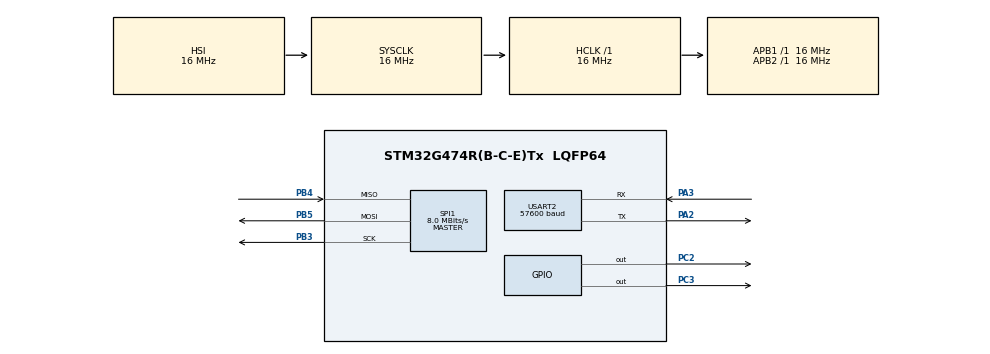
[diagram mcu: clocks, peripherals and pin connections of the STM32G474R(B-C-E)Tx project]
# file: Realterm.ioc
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Dma.Request0=USART2_RX
Dma.USART2_RX.0.Direction=DMA_PERIPH_TO_MEMORY
Dma.USART2_RX.0.EventEnable=DISABLE
Dma.USART2_RX.0.Instance=DMA1_Channel1
Dma.USART2_RX.0.MemDataAlignment=DMA_MDATAALIGN_BYTE
Dma.USART2_RX.0.MemInc=DMA_MINC_ENABLE
Dma.USART2_RX.0.Mode=DMA_CIRCULAR
Dma.USART2_RX.0.PeriphDataAlignment=DMA_PDATAALIGN_BYTE
Dma.USART2_RX.0.PeriphInc=DMA_PINC_DISABLE
Dma.USART2_RX.0.Polarity=HAL_DMAMUX_REQ_GEN_RISING
Dma.USART2_RX.0.Priority=DMA_PRIORITY_LOW
Dma.USART2_RX.0.RequestNumber=1
Dma.USART2_RX.0.SignalID=NONE
Dma.USART2_RX.0.SyncEnable=DISABLE
Dma.USART2_RX.0.SyncPolarity=HAL_DMAMUX_SYNC_NO_EVENT
Dma.USART2_RX.0.SyncRequestNumber=1
Dma.USART2_RX.0.SyncSignalID=NONE
Mcu.Family=STM32G4
Mcu.Name=STM32G474R(B-C-E)Tx
Mcu.Package=LQFP64
NVIC.DMA1_Channel1_IRQn=true\:0\:0\:false\:false\:true\:false\:true\:true
NVIC.PriorityGroup=NVIC_PRIORITYGROUP_4
NVIC.SPI1_IRQn=true\:0\:0\:false\:false\:true\:true\:true\:true
NVIC.USART2_IRQn=true\:0\:0\:false\:false\:true\:true\:true\:true
PA2.Mode=Asynchronous
PA2.Signal=USART2_TX
PA3.Mode=Asynchronous
PA3.Signal=USART2_RX
PB3.Mode=Full_Duplex_Master
PB3.Signal=SPI1_SCK
PB4.Mode=Full_Duplex_Master
PB4.Signal=SPI1_MISO
PB5.Mode=Full_Duplex_Master
PB5.Signal=SPI1_MOSI
PC2.Signal=GPIO_Output
PC3.Signal=GPIO_Output
ProjectManager.HeapSize=0x200
ProjectManager.StackSize=0x400
ProjectManager.TargetToolchain=STM32CubeIDE
RCC.AHBFreq_Value=16000000
RCC.APB1Freq_Value=16000000
RCC.APB1TimFreq_Value=16000000
RCC.APB2Freq_Value=16000000
RCC.APB2TimFreq_Value=16000000
RCC.CortexFreq_Value=16000000
RCC.EXTERNAL_CLOCK_VALUE=12288000
RCC.HCLKFreq_Value=16000000
RCC.HSE_VALUE=8000000
RCC.HSI48_VALUE=48000000
RCC.HSI_VALUE=16000000
RCC.LSE_VALUE=32768
RCC.SYSCLKFreq_VALUE=16000000
RCC.USBFreq_Value=64000000
RCC.VCOOutputFreq_Value=128000000
SPI1.CalculateBaudRate=8.0 MBits/s
SPI1.Direction=SPI_DIRECTION_2LINES
SPI1.Mode=SPI_MODE_MASTER
SPI1.VirtualType=VM_MASTER
TIM1.PeriodNoDither=50-1
TIM1.Prescaler=16-1
USART2.BaudRate=57600
USART2.VirtualMode-Asynchronous=VM_ASYNC
VP_TIM1_VS_ClockSourceINT.Mode=Internal
board=custom

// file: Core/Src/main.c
/* USER CODE BEGIN Header */
/**
  ******************************************************************************
  * @file           : main.c
  * @brief          : Main program body
  ******************************************************************************
  * @attention
  *
  * Copyright (c) 2023 STMicroelectronics.
  * All rights reserved.
  *
  * This software is licensed under terms that can be found in the LICENSE file
  * in the root directory of this software component.
  * If no LICENSE file comes with this software, it is provided AS-IS.
  *
  ******************************************************************************
  */
/* USER CODE END Header */
#include "main.h"
#include "rfid.h"
#include <stdio.h>

SPI_HandleTypeDef hspi1;

TIM_HandleTypeDef htim1;

UART_HandleTypeDef huart2;
DMA_HandleTypeDef hdma_usart2_rx;

void SystemClock_Config(void);
static void MX_GPIO_Init(void);
static void MX_DMA_Init(void);
static void MX_USART2_UART_Init(void);
static void MX_SPI1_Init(void);
static void MX_TIM1_Init(void);

int main(void)
{

  /* MCU Configuration--------------------------------------------------------*/

  /* Reset of all peripherals, Initializes the Flash interface and the Systick. */

	HAL_Init();

  /* Configure the system clock */
  SystemClock_Config();

  /* Initialize all configured peripherals */
  MX_GPIO_Init();
  MX_DMA_Init();
  MX_USART2_UART_Init();
  MX_SPI1_Init();
  MX_TIM1_Init();
  /* USER CODE BEGIN 2 */
  	  HAL_UART_Transmit(&huart2, "Hello\n\r", 10, 10);
//  	rfid_state = RFID_SET_IDLE;

  	void rfid_read_tag (void)
  	  {
  	  	rfid_read_tag_pending = 1;
  	  }

  	//********** READ TAG GET RESULT **********
  	    //Call this function to check for the end of the read tag process
  	    //Returns 0 if still reading, 1 if completed.  Bit 7 will be set if the read failed.
  	    //	After a sucessful read the ASCII tag ID will be in rfid_data_nibbles[0] | rfid_data_nibbles[9]
  	  uint8_t rfid_get_read_tag_result (void)
  	    {
  	    	//----- CHECK FOR STILL READING -----
  	    	if ((rfid_read_tag_pending) || (rfid_state != RFID_IDLE))
  	    		return(0x00);

  	    	//----- READ IS COMPLETE -----
  	    	if (rfid_read_tag_success)
  	    		return(0x01);				//Success
  	    	else
  	    		return(0x81);				//Failed
  	    }

  	uint8_t rfid_tx_rx_byte (uint8_t tx_data, uint8_t get_response)
  	    {
  	    	uint8_t rx_data = 0;
  	    	HAL_SPI_Transmit_IT(&hspi1, &tx_data, 1);
  	    	if (get_response == 1)
  	    	{
  	    		 HAL_SPI_Receive_IT	(&hspi1,&rx_data,1);
  	    	}

  	    	return rx_data;
  	    }

  	  void rfid_start_read_tag (void)
  	    {
  	  	  uint8_t tx_data  = 0x10;
  	  	  HAL_SPI_Transmit_IT(&hspi1, &tx_data, 1);
  	    }

  	//**********************************
  	    void rfid_end_read_tag (void)
  	    {

  	    	//----- TERMIATE READ_TAG MODE -----
  	    	//Low to high transition on SCLK
  	  //  	RFID_SCLK(1);
  	    	HAL_GPIO_WritePin(GPIOB, GPIO_PIN_3,GPIO_PIN_SET);

  	    }

  	  //***************************************
  	         //********** ADD NEXT DATA BIT **********
  	         //***************************************
  	         //***************************************
  	         //Returns:
  	         //	0	More bits to get
  	         //	1	All bits received and value is valid
  	         //	3	All bits received and value is bad
  	         uint8_t rfid_sampling_rising_edge_add_bit (uint8_t bit_state)
  	         {
  	         	static uint8_t nibble_index;
  	         	static uint8_t bit_index;
  	         	static uint8_t return_value;
  	         	static uint8_t no_of_ones;
  	         	static uint16_t parity_check_data;

  	         	if (rfid_bit_count == 0)
  	         	{
  	         		//----- FIRST BIT - INITIALISE THE REGISTERS -----
  	         		return_value = 0;
  	         		nibble_index = 0;
  	         		bit_index = 0;
  	         		rfid_data_nibbles[0] = 0;
  	         		rfid_data_nibbles[1] = 0;
  	         		rfid_data_nibbles[2] = 0;
  	         		rfid_data_nibbles[3] = 0;
  	         		rfid_data_nibbles[4] = 0;
  	         		rfid_data_nibbles[5] = 0;
  	         		rfid_data_nibbles[6] = 0;
  	         		rfid_data_nibbles[7] = 0;
  	         		rfid_data_nibbles[8] = 0;
  	         		rfid_data_nibbles[9] = 0;
  	         		rfid_data_nibbles[10] = 0;
  	         	}

  	         	if (nibble_index > 10)			//Check just in case
  	         		return(return_value);

  	         	switch (bit_index)
  	         	{
  	         	case 0:
  	         		//----- BIT 3 -----
  	         		if (bit_state)
  	         			rfid_data_nibbles[nibble_index] |= 0x08;
  	         		bit_index++;
  	         		break;

  	         	case 1:
  	         		//----- BIT 2 -----
  	         		if (bit_state)
  	         			rfid_data_nibbles[nibble_index] |= 0x04;
  	         		bit_index++;
  	         		break;

  	         	case 2:
  	         		//----- BIT 1 -----
  	         		if (bit_state)
  	         			rfid_data_nibbles[nibble_index] |= 0x02;
  	         		bit_index++;
  	         		break;

  	         	case 3:
  	         		//----- BIT 0 -----
  	         		if (bit_state)
  	         			rfid_data_nibbles[nibble_index] |= 0x01;
  	         		bit_index++;
  	         		break;

  	         	case 4:
  	         		//----- PARITY -----
  	         		if (nibble_index < 10)
  	         		{
  	         			//----- JUST COMPLETED NEXT 5 BIT NIBBLE -----

  	         			//Check the parity is even (total number of high bits should be even)
  	         			parity_check_data = (uint16_t)rfid_data_nibbles[nibble_index];
  	         			no_of_ones = 0;
  	         			while (parity_check_data)
  	         			{
  	         				no_of_ones++;
  	         				parity_check_data &= (parity_check_data - 1);
  	         			}
  	         			//no_of_ones = the number of high bits
  	         			if (
  	         			((no_of_ones & 0x01) && (bit_state == 0)) ||
  	         			(((no_of_ones & 0x01) == 0) && (bit_state))
  	         			)
  	         			{
  	         				//----- PARITY ERROR -----
  	         				return_value = 3;
  	         			}
  	         		}
  	         		else
  	         		{
  	         			//----- JUST GOT THE FINAL STOP BIT -----
  	         			if (bit_state)
  	         			{
  	         				//----- ERROR - STOP BIT SHOULD BE LOW -----
  	         				return_value = 3;
  	         			}
  	         			else
  	         			{
  	         				//----- CHECK THE COLUMN PARITY -----
  	         				return_value = 1;		//Default to parity good
  	         				for (bit_index = 0x08; bit_index > 0; bit_index >>= 1)
  	         				{
  	         					parity_check_data = 0;
  	         					if (rfid_data_nibbles[0] & bit_index)
  	         						parity_check_data |= 0x0200;
  	         					if (rfid_data_nibbles[1] & bit_index)
  	         						parity_check_data |= 0x0100;
  	         					if (rfid_data_nibbles[2] & bit_index)
  	         						parity_check_data |= 0x0080;
  	         					if (rfid_data_nibbles[3] & bit_index)
  	         						parity_check_data |= 0x0040;
  	         					if (rfid_data_nibbles[4] & bit_index)
  	         						parity_check_data |= 0x0020;
  	         					if (rfid_data_nibbles[5] & bit_index)
  	         						parity_check_data |= 0x0010;
  	         					if (rfid_data_nibbles[6] & bit_index)
  	         						parity_check_data |= 0x0008;
  	         					if (rfid_data_nibbles[7] & bit_index)
  	         						parity_check_data |= 0x0004;
  	         					if (rfid_data_nibbles[8] & bit_index)
  	         						parity_check_data |= 0x0002;
  	         					if (rfid_data_nibbles[9] & bit_index)
  	         						parity_check_data |= 0x0001;

  	         					no_of_ones = 0;
  	         					while (parity_check_data)
  	         					{
  	         						no_of_ones++;
  	         						parity_check_data &= (parity_check_data - 1);
  	         					}
  	         					//no_of_ones = the number of high bits
  	         					if (
  	         					((no_of_ones & 0x01) && ((rfid_data_nibbles[10] & bit_index) == 0)) ||
  	         					(((no_of_ones & 0x01) == 0) && ((rfid_data_nibbles[10] & bit_index)))
  	         					)
  	         					{
  	         						//----- PARITY ERROR -----
  	         						return_value = 3;
  	         					}
  	         				} //for (bit_index = 0x08; bit_index > 0; bit_index >>= 1)
  	         			}
  	         		}

  	         		bit_index = 0;
  	         		nibble_index++;
  	         		break;

  	         	}

  	         	return(return_value);
  	         }

  	       void rfid_process ()
  	          {
  	          	uint8_t tx_data;
  	          	uint8_t response;
  	          	uint16_t t_ant;
  	          	uint8_t count;
//  	          	HAL_UART_Transmit(&huart2, "rfid Process1\r\n", 15, 10);
//  	          	printf("Process");
//  	          	HAL_UART_Transmit(&huart2, rfid_state, 20, 10);
  	          		sprintf(rfid_state_str, "%hu\r\n", rfid_state);
  	          	  	HAL_UART_Transmit(&huart2, (uint8_t*)rfid_state_str, strlen(rfid_state_str), 10);
//  	          	HAL_UART_Transmit(&huart2, "rfid Process2\r\n", 15, 10);

  	          	switch (rfid_state)
  	          	{
  	          	case RFID_INITIALISE:
  	          	  		//----------------------
  	          	  		//----------------------
  	          	  		//----- INITIALISE -----
  	          	  		//----------------------
  	          	  		//----------------------
  	          	  		//Pause for >= 10mS for HTRC110 to be ready (specified in section 11.1 of the Philips "Read/Write Devices based on the HITAG Read/Write IC HTRC110" application note AN97070 rev 1.1)
  	          	  		HAL_Delay(11);
  	          	  		rfid_state = RFID_SET_IDLE;
  	          	  		HAL_UART_Transmit(&huart2, "Initialise\r\n", 15, 10);

  	          	//  		#ifdef RFID_SPI_SAMPLE_CS_PIN
  	          	//  			RFID_SPI_SAMPLE_CS_PIN(1);
  	          	//  		#endif

  	          	  		break;

  	          	case RFID_SET_IDLE:
  	          			//----- GO TO IDLE -----

  	          			HAL_UART_Transmit(&huart2, "Set Idle\r\n", 10, 10);

  	          			rfid_gain = 2;									//Default to a gain value of 2 (g=500 - this is default).  Permitted values are 0, 1, 2 or 3.

  	          			//SET_CONFIG_PAGE page=0x3 data=0x0 (DISLP1=0, DISSMARTCOMP=0, FSEL=00[4MHz osc])
  	          			rfid_tx_rx_byte(0x73, 0);

  	          			//SET_CONFIG_PAGE page=0x0 data=0xB (GAIN=##, FILTERH=1, FILTERL=1)
  	          			tx_data = 0x43 | (rfid_gain << 2);
  	          			rfid_tx_rx_byte(tx_data, 0);

  	          			//SET_CONFIG_PAGE page=0x2 data=0xF (THRESET=1, ACQAMP=1, FREEZE=11)
  	          			rfid_tx_rx_byte(0x6f, 0);

  	          	//		SET_CONFIG_PAGE page=0x1 data=0x5 (PD_MODE=0[active], PD=1[power down], HYSTERESIS=0[off], TXDIS=1[coil driver off])
  	          			rfid_tx_rx_byte(0x55, 0);
  	          			rfid_state = RFID_IDLE;
  	          			break;

  	          	case RFID_IDLE:
  	          			//----- IDLE -----
  	          			//RFID is in inactive low power state
//  	          			HAL_UART_Transmit(&huart2, "Idle\r\n", 10, 10);

  	          			//----- CHECK FOR READ TAG REQUEST -----
  	          			if (rfid_read_tag_pending)
  	          				rfid_state = RFID_READ_TAG;
  	          			break;

  	          		case RFID_READ_TAG:

  	          				//----- READ TAG 1 -----
  	          				HAL_UART_Transmit(&huart2, "Read Tag\r\n", 10, 10);

  	          				//SET_CONFIG_PAGE page=0x3 data=0x0 (DISLP1=0, DISSMARTCOMP=0, FSEL=00[4MHz osc])
  	          				rfid_tx_rx_byte(0x73, 0);

  	          				//SET_CONFIG_PAGE page=0x0 data=0xB (GAIN=##, FILTERH=1, FILTERL=1)
  	          				tx_data = 0x43 | (rfid_gain << 2);
  	          				rfid_tx_rx_byte(tx_data, 0);

  	          				//SET_CONFIG_PAGE page=0x1 data=0x0 (PD_MODE=0[active], PD=0[active], HYSTERESIS=0[off], TXDIS=0[coil driver on])
  	          				rfid_tx_rx_byte(0x50, 0);
  	          				//SET_CONFIG_PAGE page=0x2 data=0xB (THRESET=1, ACQAMP=0, FREEZE=11)

  	          				rfid_tx_rx_byte(0x6b, 0);
  	          				//Pause for >= 5mS for HTRC110 to be ready (specified in section 11.4 of the Philips "Read/Write Devices based on the HITAG Read/Write IC HTRC110" application note AN97070 rev 1.1)
  	          				HAL_Delay(4);
  	          				//SET_CONFIG_PAGE page=0x2 data=0x8 (THRESET=1, ACQAMP=0, FREEZE=00[normal operation])
  	          				rfid_tx_rx_byte(0x68, 0);
  	          				HAL_Delay(1);
  	          				//SET_CONFIG_PAGE page=0x2 data=0x0 (THRESET=0, ACQAMP=0, FREEZE=00)
  	          				rfid_tx_rx_byte(0x60, 0);

  	          				//----- CHECK THE ANTENNA IS OK -----
  	          				//GET_CONFIG_PAGE page=2
  	          				response = rfid_tx_rx_byte(0x06, 1);

  	          				if (response & 0x10)
  	          				{
  	          					//ANTFAIL IS SET - Antenna failure
  	          					HAL_UART_Transmit(&huart2, "Fail 1\r\n", 10, 10);
  	          					rfid_state = RFID_READ_FAIL;
  	          					break;
  	          				}

  	          				//----- SET THE SAMPLING TIME -----
  	          				//READ_PHASE
  	          				t_ant = (uint16_t)rfid_tx_rx_byte(0x08, 1);
  	          				t_ant <<= 1;							//Multiply by 2
  	          				t_ant += RFID_T_OC;						//Add the Offset Compensation value
  	          				t_ant &= 0x3f;

  	          				//SET_SAMPLING_TIME d=t_ant
  	          				rfid_tx_rx_byte((0x80 | (uint8_t)t_ant), 0);

  	          				//GET_SAMPLING_TIME
  	          				response = rfid_tx_rx_byte(0x02, 1);

  	          				HAL_NVIC_EnableIRQ(EXTI4_IRQn);

  	          				HAL_UART_Transmit(&huart2, response, 20, 10);
  	          				if (response != t_ant)
  	          				{
  	          					//Error - the sampling time value was not accepted for some reason
  	          					HAL_UART_Transmit(&huart2, "Fail 2\r\n", 10, 10);
  	          					rfid_state = RFID_READ_FAIL;
  	          					break;
  	          				}

  	          				//HTRC110 is now outputting a 125kHz sine wave.  The tag (if present) will be powered by this and it will then start transmitting its 64 bits as a continuous
  	          				//cycle (it transmits in a loop as long as its powered by the RF field).  It transmits its bits by interfearing with the RF sine wave signal which the HTRC110
  	          				//detects for us.  When we now start reading the tag data we will be given the raw data output of the tag after being filtered into a digital signal by the HTRC110.

  	          				//----- START READING THE TAG DATA -----
  	          				rfid_start_read_tag();

  	          	//			rfid_1ms_timer = 150;					//Set a timeout
  	          				rfid_state = RFID_READ_TAG_READING;

  	          				//----- ENABLE THE MISO RISING EDGE INTERRUPT -----
  	          				rfid_capture_state = RFID_CAPTURE_INITIALISE;
  	          				rfid_tries_count = 0;
  	          	//			RFID_CLEAR_MISO_RISING_EDGE_IRQ();
  	          				HAL_NVIC_EnableIRQ(EXTI4_IRQn);
  	          				//The interrupt called function deals with reading and demodulating the tag data
  	          				break;

  	          		case RFID_READ_TAG_READING:
  	          				//----------------------------------------
  	          				//----------------------------------------
  	          				//----- READING TAG DEMODULATED DATA -----
  	          				//----------------------------------------
  	          				//----------------------------------------
  	          				//The tag data length is 64 bits with between 64 to 127 bits needing to be received before we have a complete sequence.
  	          				//We also need to initially receive 22 bits to enable us to determine the bit rate.
  	          				//Therefore read can take 149 bits x 512uS maximum bit rate = 76mS.
  	          				//Tags will typically be set to use the slowest 512uS bit rate as slow transitions on the air interface are easier to
  	          				//detect, which means you get additional range and more reliable communications.
  	          				//Note that if no tag is present we expect to receive bad data (the data line will not be idle) and we are likely to see
  	          				//valid header strings.  However the 14 seperate parity checks will only pass when a valid tag is present.
  	          				HAL_UART_Transmit(&huart2, "ReadTag Reading\r\n", 20, 10);
  	          				if (rfid_capture_state == RFID_CAPTURE_SUCCESS)
  	          				{
  	          					//-----------------------------
  	          					//----- TAG HAS BEEN READ -----
  	          					//-----------------------------
  	          					rfid_end_read_tag();

  	          					//Convert ID value to ASCII
  	          					for (count = 0; count < 10; count++)
  	          					{
  	          						rfid_data_nibbles[count] += 0x30;
  	          						if (rfid_data_nibbles[count] > 0x39)
  	          							rfid_data_nibbles[count] += 0x07;
  	          					}

  	          					rfid_read_tag_success = 1;
  	          					rfid_read_tag_pending = 0;
  	          					rfid_state = RFID_SET_IDLE;
  	          					break;
  	          				}

  	          				if (rfid_capture_state == RFID_CAPTURE_FAILED_GIVEN_UP)
  	          				{
  	          					//------------------------------
  	          					//----- TAG READING FAILED -----
  	          					//------------------------------
  	          					rfid_end_read_tag();

  	          					rfid_read_tag_success = 0;
  	          					rfid_read_tag_pending = 0;
  	          					rfid_state = RFID_SET_IDLE;
  	          					HAL_NVIC_DisableIRQ(EXTI4_IRQn);		//Ensure irq is disabled
  	          				}

  	          				break;

  	          			case RFID_READ_FAIL:
  	          				//---------------------------
  	          				//---------------------------
  	          				//----- READ TAG FAILED -----
  	          				//---------------------------
  	          				//---------------------------
  	          				HAL_UART_Transmit(&huart2, "Read Fail\r\n", 12, 10);
  	          				rfid_read_tag_success = 0;
  	          				rfid_read_tag_pending = 0;

  	          				rfid_state = RFID_SET_IDLE;
  	          				break;
  	          	}
  	          }
  	     //********** SAMPLING PHASE - DATA RISING EDGE INTERRUPT **********

  	       //Call with:
  	       //	us_since_last_rising_edge	The time in uS since the last edge interrupt.  You application interrupt hander must create this value from an available microcontroller timer.
  	       //								The maximum time between interrupts will be approximately 1024uS, so your timer calculation only needs to deal with time values of up to say
  	       //								1280uS (to give a reasonable margin of worst case tollerance).
  	       //								Call with the timer value captured as close as possible to the rising edge occuring (reduce latency as much as possible)
  	       //								This function will ignore the value for the first 2 calls allowing for initial timer error.

  	     void rfid_sampling_rising_edge (uint16_t us_since_last_rising_edge)
  	       {
  	       	static uint16_t rfid_1us_bit_rate;		//(As this is an interrupt function we define all variables as static to avoid the compiler needing to waste time pushing values onto the stack etc before calling)
  	       	static uint16_t w_temp;
  	       	static uint16_t rfid_1us_125_value;
  	       	static uint16_t rfid_1us_175_value;
  	       	static uint8_t rfid_bit_type;
  	       	static uint8_t manchester_header_bit_count;
  	       	static uint8_t biphase_header_bit_count;
  	       	static uint8_t rfid_modulation_is_manchester;
  	       	static uint8_t rfid_carry;
  	       	static uint8_t last_bit_state;
  	       	static uint8_t b_temp;

  	       	//-------------------------------------
  	       	//----- NEXT RISING EDGE DETECTED -----
  	       	//-------------------------------------

  	       	//Reset the irq if necessary
  	     //  	RFID_CLEAR_MISO_RISING_EDGE_IRQ();

  	       	//----------------------------------
  	       	//----- DETERMINE THE BIT TYPE -----
  	       	//----------------------------------
  	       	if (rfid_capture_state >= RFID_CAPTURE_GET_HEADER)
  	       	{
  	       		if (us_since_last_rising_edge < rfid_1us_125_value)
  	       			rfid_bit_type = 100;					//rfid_1us_bit_rate x 1
  	       		else if (us_since_last_rising_edge < rfid_1us_175_value)
  	       			rfid_bit_type = 150;					//rfid_1us_bit_rate x 1.5
  	       		else
  	       			rfid_bit_type = 200;					//rfid_1us_bit_rate x 2
  	       	}

  	       	switch (rfid_capture_state)
  	       	{
  	       	case RFID_CAPTURE_INITIALISE:
  	       		//---------------------------------
  	       		//---------------------------------
  	       		//----- SETUP FOR NEW CAPTURE -----
  	       		//---------------------------------
  	       		//---------------------------------
  	       		rfid_bit_count = 0;
  	       		rfid_1us_bit_rate = 0xffff;

  	       		rfid_capture_state = RFID_CAPTURE_GET_BIT_RATE;
  	       		break;

  	       	case RFID_CAPTURE_GET_BIT_RATE:
  	       		//------------------------------
  	       		//------------------------------
  	       		//----- GET BIT RATE PHASE -----
  	       		//------------------------------
  	       		//------------------------------
  	       		//We are looking for the minimum high edge to high edge time to determine the tags bit rate

  	       		if (rfid_bit_count > 2)		//Ignore the first few transitions in case of initial timing error and switchover garbage from the HTRC110
  	       		{
  	       			if (us_since_last_rising_edge < rfid_1us_bit_rate)				//If this cycle was the shortest yet then store it
  	       				rfid_1us_bit_rate = us_since_last_rising_edge;
  	       		}

  	       		if (rfid_bit_count >= 21)				//We need at least 14 bits to ensure that we will have seen a short cycle (worst case is BiPhase 111111111 header followed by 1111 data bits then the parity woudl be the first short bit cycle)
  	       		{
  	       			//----------------------------------
  	       			//------- WE HAVE THE BIT RATE -----
  	       			//----------------------------------
  	       			//125kHz = 8uS per cycle.  Our timer value increments every 1uS.
  	       			//For Manchester or BiPhase the tag will be responding with 1 bit every 64, 32 or 16 periods of the carrier frequency, and will change state once
  	       			//or twice during this (the tag is allowed to use any of these three as its data rate).  However we only need to detect each rising edge to determine
  	       			//the bit states, reducing the interrupt burden on the main application.  Also only detecting each rising edge removes issues of dealing with non perfect
  	       			//high and low widths within each cycle - being radio they are often not perfectly 50/50, but the overall bit frequency will be relatively accurate.
  	       			//So for either of these modulations our bit rate will be approximately 128uS, 256uS or 512uS.
  	       			//If the tag is PSK it will be changing state every carrier frequency period (every 8uS)

  	       			if (rfid_1us_bit_rate < 76)				//The fastest possible Manchester or BiPhase cycle bit rate is 128uS but give a good level of tollerance
  	       			{
  	       				//-----------------------------
  	       				//----- MODULATION IS PSK -----
  	       				//-----------------------------
  	       				//PSK cycle rate is 16uS. 1 transition every 125kHz cycle
  	       				//PSK is not used by typical tags as many readers don't support it due to the complexity burden of decoding it.
  	       				rfid_capture_state = RFID_CAPTURE_FAILED;		//PSK is not supported
  	       				break;
  	       			}
  	       			//-----------------------------------------------
  	       			//----- MODULATION IS MANCHESTER OR BIPHASE -----
  	       			//-----------------------------------------------
  	       			//rfid_1us_bit_rate will equal approximately 512, 256 or 128 caused by the shortest high edge to high edge complete cycle being 512uS, 256uS or 128uS long.
  	       			//(the actual fastest signal edge transition period being every 256uS, 128uS or 64uS)

  	       			//Check for bit rate not out of range
  	       			if (rfid_1us_bit_rate > 720)
  	       			{
  	       				rfid_capture_state = RFID_CAPTURE_FAILED;
  	       				break;
  	       			}
  	       			//----- CALCULATE THE CYCLE TIMES -----
  	       			//Now that we have the bit rate (the fastest high edge to high edge time) we can determine the 3 possible time values.
  	       			//A high edge may take:
  	       			//	rfid_1us_bit_rate x 1
  	       			//	rfid_1us_bit_rate x 1.5
  	       			//	rfid_1us_bit_rate x 2
  	       			//In order to determine which has just occured we need a time value for (rfid_1us_bit_rate x 1.25) and (rfid_1us_bit_rate x 1.75)
  	       			w_temp = rfid_1us_bit_rate >> 2;		//Get rfid_1us_bit_rate x 0.25
  	       			rfid_1us_125_value = rfid_1us_bit_rate + w_temp;
  	       			rfid_1us_175_value = rfid_1us_bit_rate + w_temp + w_temp + w_temp;

  	       			rfid_capture_state = RFID_CAPTURE_GET_HEADER;
  	       			rfid_bit_count = 0;
  	       			manchester_header_bit_count = 0;
  	       			biphase_header_bit_count = 0;
  	       			break;
  	       		}

  	       		rfid_bit_count++;
  	       		break;

  	       	case RFID_CAPTURE_GET_HEADER:
  	       		//-------------------------------------------
  	       		//-------------------------------------------
  	       		//----- WAIT FOR THE 9 HIGH BITS HEADER -----
  	       		//-------------------------------------------
  	       		//-------------------------------------------
  	       		//The stop bit followed by header is the following sequence of bits : 0111111111
  	       		//This cannot occur anywhere else in the tags 64 bit stream.
  	       		//For Manchester encoding the header will be a sequence of rfid_bit_type=100 repeating 8 times for the 9 high bits.
  	       		//For BiPhase encoding the header will be a sequence of rfid_bit_type=200 repeating 4 times for the 9 high bits.
  	       		//The header is the only position in the bit stream where either of these sequences can occur.

  	       		if (rfid_bit_type == 100)
  	       			manchester_header_bit_count++;
  	       		else
  	       			manchester_header_bit_count = 0;

  	       		if (rfid_bit_type == 200)
  	       			biphase_header_bit_count++;
  	       		else
  	       			biphase_header_bit_count = 0;

  	       		if (manchester_header_bit_count == 8)
  	       		{
  	       			//----- MANCHESTER ENCODING HEADER DETECTED -----
  	       			rfid_modulation_is_manchester = 1;
  	       			rfid_bit_count = 0;
  	       			rfid_carry = 0;
  	       			last_bit_state = 1;
  	       			rfid_capture_state = RFID_CAPTURE_GET_DATA;
  	       			break;
  	       		}

  	       		if (biphase_header_bit_count == 8)
  	       		{
  	       			//----- BI-PHASE ENCODING HEADER DETECTED -----
  	       			rfid_modulation_is_manchester = 0;
  	       			rfid_bit_count = 0;
  	       			rfid_carry = 0;
  	       			last_bit_state = 1;
  	       			rfid_capture_state = RFID_CAPTURE_GET_DATA;
  	       			break;
  	       		}

  	       		if (rfid_bit_count > 128)
  	       		{
  	       			//----- GIVE UP -----
  	       			//We should have seen the header by now
  	       			rfid_capture_state = RFID_CAPTURE_FAILED;
  	       			break;
  	       		}
  	       		rfid_bit_count++;
  	       		break;

  	       	case RFID_CAPTURE_GET_DATA:
  	       		//----------------------------------------------
  	       		//----------------------------------------------
  	       		//----- GET THE 54 BITS OF DATA AND PARITY -----
  	       		//----------------------------------------------
  	       		//----------------------------------------------

  	       		//----- MODULATION DEFINITIONS FOR EM4102 BASED RFID TRANSPONDERS -----
  	       		//Manchester Modulation:
  	       		//	This is the default encoding method used by most tags.
  	       		//	The tag will produce a level transition in the middle of the bit period.
  	       		//	Low to high = logic 1, high to low = logic 0.
  	       		//	There is always a transition in the middle of the bit period, but only a transition at the beginning of the bit period if requried for the next bit state.
  	       		//
  	       		//BiPhase Modulation:
  	       		//	There is aways transition at the beginning of the bit period
  	       		//	For logic 0 there is also a transition in the centre of the bit period
  	       		//	For logic 1 there is no transition in the centre of the bit period

  	       		//----- HOW THE DRIVER DETECTS THE BIT VALUES -----
  	       		//This driver only detects the rising edge of the data stream.  This has been chosen as it reduces the demands on the microcontroller (half the number
  	       		//of interrupts occur) and because from this each bit state can be determined.  The following is how it's done, and if you wish to understand the
  	       		//operation it's easiest if you have example datastreams to hand.
  	       		//Note that whilst Manchester and BiPhase modulation are standard approaches, their implementation differes depending on use.  EM4102 based tags use the
  	       		//modulation in a specific way and th ebelow approach will not necessarily be true for other protocols using Manchester of BiPhase modulation.
  	       		//We have the following variables:
  	       		//	rfid_bit_type = 100		A 100% high edge to high edge cycle time has just occured
  	       		//	rfid_bit_type = 150		A 150% high edge to high edge cycle time has just occured
  	       		//	rfid_bit_type = 200		A 200% high edge to high edge cycle time has just occured
  	       		//	rfid_carry				A flag we use to store carry when rfid_bit_type = 150
  	       		//
  	       		//For Manchester Modulation:
  	       		//	When rfid_bit_type=100 the next bit is the same as the last bit
  	       		//	When rfid_bit_type=150 and rfid_carry=0 the next bit is the inverse of the last bit, set rfid_carry
  	       		//	When rfid_bit_type=150 and rfid_carry=1 the next bit is the same as the last bit, then the next bit is the inverse of the last bit, clear rfid_carry
  	       		//	When rfid_bit_type=200 the next bit is the inverse of the last bit, and the next bit is the inverse again (i.e. 01 or 10)
  	       		//(When rfid_carry=1 we are out of phase with the bitrate period)
  	       		//
  	       		//For BiPhase Modulation:
  	       		//	If rfid_carry=0
  	       		//		When rfid_bit_type=100 the next bit is 0
  	       		//		When rfid_bit_type=150 the next bit is 1, set rfid_carry
  	       		//		When rfid_bit_type=200 the next bits are 11
  	       		//	If rfid_carry=1
  	       		//		When rfid_bit_type=100 the next bit is 0, don't clear rfid_carry
  	       		//		When rfid_bit_type=150 the next bits are 01, clear rfid_carry
  	       		//		When rfid_bit_type=200 - not possible
  	       		//(When rfid_carry=1 we are out of phase with the bitrate period)

  	       		if (rfid_modulation_is_manchester)
  	       		{
  	       			//---------------------------------
  	       			//----- MANCHESTER MODULATION -----
  	       			//---------------------------------
  	       			if (rfid_bit_type == 100)
  	       			{
  	       				//The next bit is the same as the last bit
  	       				b_temp = rfid_sampling_rising_edge_add_bit(last_bit_state);
  	       			}
  	       			else if (rfid_bit_type == 150)
  	       			{
  	       				if (!rfid_carry)
  	       				{
  	       					//The next bit is the inverse of the last bit, set rfid_carry
  	       					last_bit_state ^= 1;
  	       					b_temp = rfid_sampling_rising_edge_add_bit(last_bit_state);
  	       					rfid_carry = 1;
  	       				}
  	       				else
  	       				{
  	       					//The next bit is the same as the last bit, then the next bit is the inverse of the last bit, clear rfid_carry
  	       					b_temp = rfid_sampling_rising_edge_add_bit(last_bit_state);
  	       					last_bit_state ^= 1;
  	       					b_temp = rfid_sampling_rising_edge_add_bit(last_bit_state);
  	       					rfid_carry = 0;
  	       					rfid_bit_count++;
  	       				}
  	       			}
  	       			else if (rfid_bit_type == 200)
  	       			{
  	       				//The next bit is the inverse of the last bit, and the next bit is the inverse again
  	       				last_bit_state ^= 1;
  	       				b_temp = rfid_sampling_rising_edge_add_bit(last_bit_state);
  	       				last_bit_state ^= 1;
  	       				b_temp = rfid_sampling_rising_edge_add_bit(last_bit_state);
  	       				rfid_bit_count++;
  	       			}
  	       		}
  	       		else
  	       		{
  	       			//-------------------------------
  	       			//----- BI-PHASE MODULATION -----
  	       			//-------------------------------
  	       			if (!rfid_carry)
  	       			{
  	       				if (rfid_bit_type == 100)
  	       				{
  	       					//The next bit is 0
  	       					b_temp = rfid_sampling_rising_edge_add_bit(0);
  	       				}
  	       				else if (rfid_bit_type == 150)
  	       				{
  	       					//The next bit is 1, set rfid_carry
  	       					b_temp = rfid_sampling_rising_edge_add_bit(1);
  	       					rfid_carry = 1;
  	       				}
  	       				else if (rfid_bit_type == 200)
  	       				{
  	       					//The next bits are 11
  	       					b_temp = rfid_sampling_rising_edge_add_bit(1);
  	       					b_temp = rfid_sampling_rising_edge_add_bit(1);
  	       					rfid_bit_count++;
  	       				}
  	       			}
  	       			else
  	       			{
  	       				if (rfid_bit_type == 100)
  	       				{
  	       					//The next bit is 0, don't clear rfid_carry
  	       					b_temp = rfid_sampling_rising_edge_add_bit(0);
  	       				}
  	       				else if (rfid_bit_type == 150)
  	       				{
  	       					//The next bits are 01, clear rfid_carry
  	       					b_temp = rfid_sampling_rising_edge_add_bit(0);
  	       					b_temp = rfid_sampling_rising_edge_add_bit(1);
  	       					rfid_carry = 0;
  	       					rfid_bit_count++;
  	       				}
  	       				else if (rfid_bit_type == 200)
  	       				{
  	       					//not possible
  	       					rfid_capture_state = RFID_CAPTURE_FAILED;
  	       					break;
  	       				}
  	       			}
  	       		}

  	       		if (b_temp)
  	       		{
  	       			//-----------------------------
  	       			//----- ALL BITS RECEIVED -----
  	       			//-----------------------------
  	       			if (b_temp & 0x02)
  	       				rfid_capture_state = RFID_CAPTURE_FAILED;
  	       			else
  	       				rfid_capture_state = RFID_CAPTURE_SUCCESS;
  	       			break;
  	       		}

  	       		rfid_bit_count++;
  	       		break;

  	       	case RFID_CAPTURE_SUCCESS:
  	       		//----------------------------
  	       		//----------------------------
  	       		//----- CAPTURE COMPELTE -----
  	       		//----------------------------
  	       		//----------------------------
  	       		HAL_NVIC_DisableIRQ(EXTI4_IRQn);	;

  	       		//The main state machine in rfid_process() will detect this state and end the read state.
  	       		break;

  	       	case RFID_CAPTURE_FAILED:
  	       		//--------------------------
  	       		//--------------------------
  	       		//----- CAPTURE FAILED -----
  	       		//--------------------------
  	       		//--------------------------
  	       		//There has either been an error or there is no tag present

  	       		if (rfid_tries_count < 5)
  	       		{
  	       			//----- RETRY -----
  	       			//When a tag is present and in range there is typcially no need for a retry - it will typically work first time.
  	       			//However it doesn't hurt to try again a few times in case it helps where the signal is week.
  	       			//As this driver checks for parity errors as nibbles are received (rather than at the end) failures can occur
  	       			//early on in the bit sequence, so doing this will often mean we are ready to try again at the start of the very
  	       			//next sequence from the tag.
  	       			rfid_tries_count++;
  	       			rfid_capture_state = RFID_CAPTURE_INITIALISE;
  	       		}
  	       		else
  	       		{
  	       			rfid_capture_state = RFID_CAPTURE_FAILED_GIVEN_UP;
  	       		}
  	       		break;

  	       	case RFID_CAPTURE_FAILED_GIVEN_UP:
  	       		//-----------------------------------------------------------
  	       		//-----------------------------------------------------------
  	       		//----- CAPTURE FAILED MULTIPLE TIMES SO WE'VE GIVEN UP -----
  	       		//-----------------------------------------------------------
  	       		//-----------------------------------------------------------
  	       		HAL_NVIC_DisableIRQ(EXTI4_IRQn);

  	       		//The main state machine in rfid_process() will detect this state and end the read state.
  	       		break;

  	       	} //switch (rfid_state)

  	       }

  /* USER CODE END 2 */

  /* Infinite loop */
  while (1)
  {
//	  HAL_UART_Transmit(&huart2, "Hello\n\r", 10, 10);

  	  rfid_process();
//	  	  process_user_mode();

  	  static uint8_t doing_read = 0;
  	  	uint8_t result;

  	  	if (!doing_read)
  	  	{
  	  		//-----------------------------------
  	  		//----- WAITING TO DO NEXT READ -----
  	  		//-----------------------------------
  	  		if (general_use_10ms_timer == 0)
  	  		{
  	  			//----- START THE NEXT READ -----
  	  			rfid_read_tag();

  	  			doing_read = 1;
  	  			general_use_10ms_timer = 25;
  	  		}
  	  	}
  	  	else
  	  	{
  	  		//----------------------------------------
  	  		//----- WAITING FOR READ TO COMPLETE -----
  	  		//----------------------------------------
  	  		result = rfid_get_read_tag_result();
//	  	  		if (result == 0)
//	  	  			return;			//Not complete

  	  		if (result == 1)
  	  		{
  	  			//----- VALID RFID TAG DETECTED -----
//	  	  			RED_LED_ON = 0;
//	  	  			GREEN_LED_ON = 1;
  	  			HAL_GPIO_WritePin(GPIOC, GPIO_PIN_2,GPIO_PIN_RESET);
  	  			HAL_GPIO_WritePin(GPIOC, GPIO_PIN_3,GPIO_PIN_SET);
  	  		}
  	  		else
  	  		{
  	  			//----- READ ERROR - NO VALID TAG DETECTED -----
//	  	  			RED_LED_ON = 1;
//	  	  			GREEN_LED_ON = 0;
  	  			HAL_GPIO_WritePin(GPIOC, GPIO_PIN_2,GPIO_PIN_SET);
  	  			HAL_GPIO_WritePin(GPIOC, GPIO_PIN_3,GPIO_PIN_RESET);
  	  		}
  	  		doing_read = 0;
  	  	}

  }
}

void SystemClock_Config(void)
{
  RCC_OscInitTypeDef RCC_OscInitStruct = {0};
  RCC_ClkInitTypeDef RCC_ClkInitStruct = {0};

  /** Configure the main internal regulator output voltage
  */
  HAL_PWREx_ControlVoltageScaling(PWR_REGULATOR_VOLTAGE_SCALE1);

  /** Initializes the RCC Oscillators according to the specified parameters
  * in the RCC_OscInitTypeDef structure.
  */
  RCC_OscInitStruct.OscillatorType = RCC_OSCILLATORTYPE_HSI;
  RCC_OscInitStruct.HSIState = RCC_HSI_ON;
  RCC_OscInitStruct.HSICalibrationValue = RCC_HSICALIBRATION_DEFAULT;
  RCC_OscInitStruct.PLL.PLLState = RCC_PLL_NONE;
  if (HAL_RCC_OscConfig(&RCC_OscInitStruct) != HAL_OK)
  {
    Error_Handler();
  }

  /** Initializes the CPU, AHB and APB buses clocks
  */
  RCC_ClkInitStruct.ClockType = RCC_CLOCKTYPE_HCLK|RCC_CLOCKTYPE_SYSCLK
                              |RCC_CLOCKTYPE_PCLK1|RCC_CLOCKTYPE_PCLK2;
  RCC_ClkInitStruct.SYSCLKSource = RCC_SYSCLKSOURCE_HSI;
  RCC_ClkInitStruct.AHBCLKDivider = RCC_SYSCLK_DIV1;
  RCC_ClkInitStruct.APB1CLKDivider = RCC_HCLK_DIV1;
  RCC_ClkInitStruct.APB2CLKDivider = RCC_HCLK_DIV1;

  if (HAL_RCC_ClockConfig(&RCC_ClkInitStruct, FLASH_LATENCY_0) != HAL_OK)
  {
    Error_Handler();
  }
}

static void MX_SPI1_Init(void)
{

  /* SPI1 parameter configuration*/
  hspi1.Instance = SPI1;
  hspi1.Init.Mode = SPI_MODE_MASTER;
  hspi1.Init.Direction = SPI_DIRECTION_2LINES;
  hspi1.Init.DataSize = SPI_DATASIZE_4BIT;
  hspi1.Init.CLKPolarity = SPI_POLARITY_LOW;
  hspi1.Init.CLKPhase = SPI_PHASE_1EDGE;
  hspi1.Init.NSS = SPI_NSS_SOFT;
  hspi1.Init.BaudRatePrescaler = SPI_BAUDRATEPRESCALER_2;
  hspi1.Init.FirstBit = SPI_FIRSTBIT_MSB;
  hspi1.Init.TIMode = SPI_TIMODE_DISABLE;
  hspi1.Init.CRCCalculation = SPI_CRCCALCULATION_DISABLE;
  hspi1.Init.CRCPolynomial = 7;
  hspi1.Init.CRCLength = SPI_CRC_LENGTH_DATASIZE;
  hspi1.Init.NSSPMode = SPI_NSS_PULSE_ENABLE;
  if (HAL_SPI_Init(&hspi1) != HAL_OK)
  {
    Error_Handler();
  }

}

static void MX_TIM1_Init(void)
{

  TIM_ClockConfigTypeDef sClockSourceConfig = {0};
  TIM_MasterConfigTypeDef sMasterConfig = {0};

  htim1.Instance = TIM1;
  htim1.Init.Prescaler = 16-1;
  htim1.Init.CounterMode = TIM_COUNTERMODE_UP;
  htim1.Init.Period = 49;
  htim1.Init.ClockDivision = TIM_CLOCKDIVISION_DIV1;
  htim1.Init.RepetitionCounter = 0;
  htim1.Init.AutoReloadPreload = TIM_AUTORELOAD_PRELOAD_DISABLE;
  if (HAL_TIM_Base_Init(&htim1) != HAL_OK)
  {
    Error_Handler();
  }
  sClockSourceConfig.ClockSource = TIM_CLOCKSOURCE_INTERNAL;
  if (HAL_TIM_ConfigClockSource(&htim1, &sClockSourceConfig) != HAL_OK)
  {
    Error_Handler();
  }
  sMasterConfig.MasterOutputTrigger = TIM_TRGO_RESET;
  sMasterConfig.MasterOutputTrigger2 = TIM_TRGO2_RESET;
  sMasterConfig.MasterSlaveMode = TIM_MASTERSLAVEMODE_DISABLE;
  if (HAL_TIMEx_MasterConfigSynchronization(&htim1, &sMasterConfig) != HAL_OK)
  {
    Error_Handler();
  }

}

static void MX_USART2_UART_Init(void)
{

  huart2.Instance = USART2;
  huart2.Init.BaudRate = 57600;
  huart2.Init.WordLength = UART_WORDLENGTH_8B;
  huart2.Init.StopBits = UART_STOPBITS_1;
  huart2.Init.Parity = UART_PARITY_NONE;
  huart2.Init.Mode = UART_MODE_TX_RX;
  huart2.Init.HwFlowCtl = UART_HWCONTROL_NONE;
  huart2.Init.OverSampling = UART_OVERSAMPLING_16;
  huart2.Init.OneBitSampling = UART_ONE_BIT_SAMPLE_DISABLE;
  huart2.Init.ClockPrescaler = UART_PRESCALER_DIV1;
  huart2.AdvancedInit.AdvFeatureInit = UART_ADVFEATURE_NO_INIT;
  if (HAL_UART_Init(&huart2) != HAL_OK)
  {
    Error_Handler();
  }
  if (HAL_UARTEx_SetTxFifoThreshold(&huart2, UART_TXFIFO_THRESHOLD_1_8) != HAL_OK)
  {
    Error_Handler();
  }
  if (HAL_UARTEx_SetRxFifoThreshold(&huart2, UART_RXFIFO_THRESHOLD_1_8) != HAL_OK)
  {
    Error_Handler();
  }
  if (HAL_UARTEx_DisableFifoMode(&huart2) != HAL_OK)
  {
    Error_Handler();
  }

}

static void MX_DMA_Init(void)
{

  /* DMA controller clock enable */
  __HAL_RCC_DMAMUX1_CLK_ENABLE();
  __HAL_RCC_DMA1_CLK_ENABLE();

  /* DMA interrupt init */
  /* DMA1_Channel1_IRQn interrupt configuration */
  HAL_NVIC_SetPriority(DMA1_Channel1_IRQn, 0, 0);
  HAL_NVIC_EnableIRQ(DMA1_Channel1_IRQn);

}

static void MX_GPIO_Init(void)
{
  GPIO_InitTypeDef GPIO_InitStruct = {0};

  /* GPIO Ports Clock Enable */
  __HAL_RCC_GPIOC_CLK_ENABLE();
  __HAL_RCC_GPIOA_CLK_ENABLE();
  __HAL_RCC_GPIOB_CLK_ENABLE();

  /*Configure GPIO pin Output Level */
  HAL_GPIO_WritePin(GPIOC, GPIO_PIN_2|GPIO_PIN_3, GPIO_PIN_RESET);

  /*Configure GPIO pins : PC2 PC3 */
  GPIO_InitStruct.Pin = GPIO_PIN_2|GPIO_PIN_3;
  GPIO_InitStruct.Mode = GPIO_MODE_OUTPUT_PP;
  GPIO_InitStruct.Pull = GPIO_NOPULL;
  GPIO_InitStruct.Speed = GPIO_SPEED_FREQ_LOW;
  HAL_GPIO_Init(GPIOC, &GPIO_InitStruct);

/* USER CODE BEGIN MX_GPIO_Init_2 */
  /* Enable EXTI for MISO pin (PB4) */
  HAL_NVIC_SetPriority(EXTI4_IRQn, 0, 0);
  HAL_NVIC_EnableIRQ(EXTI4_IRQn);
/* USER CODE END MX_GPIO_Init_2 */
}

/* USER CODE BEGIN 4 */
void HAL_GPIO_EXTI_Callback(uint16_t GPIO_Pin)
{
	HAL_UART_Transmit(&huart2, "ISR", 3, 10);
	if(GPIO_Pin == GPIO_PIN_4)
  {
    if(HAL_GPIO_ReadPin(GPIOB, GPIO_PIN_4) == GPIO_PIN_SET)
    {
    	rfid_sampling_rising_edge(us_since_last_rising_edge);
    }
  }
}

void HAL_TIM_IC_CaptureCallback(TIM_HandleTypeDef *htim)
{
	if (htim->Channel == HAL_TIM_ACTIVE_CHANNEL_1)
	{
		if (Is_First_Captured==0) // if the first rising edge is not captured
		{
			IC_Val1 = HAL_TIM_ReadCapturedValue(htim, TIM_CHANNEL_1); // read the first value
			Is_First_Captured = 1;  // set the first captured as true
		}

		else   // If the first rising edge is captured, now we will capture the second edge
		{
			IC_Val2 = HAL_TIM_ReadCapturedValue(htim, TIM_CHANNEL_1);  // read second value

			if (IC_Val2 > IC_Val1)
			{
				Difference = IC_Val2-IC_Val1;
			}

			else if (IC_Val1 > IC_Val2)
			{
				Difference = (0xffffffff - IC_Val1) + IC_Val2;
			}

			float refClock = TIMCLOCK/(PRESCALAR);

			frequency = refClock/Difference;
			us_since_last_rising_edge = 1/frequency;
			__HAL_TIM_SET_COUNTER(htim, 0);  // reset the counter
			Is_First_Captured = 0; // set it back to false
		}
	}
}

/* USER CODE END 4 */

void Error_Handler(void)
{
  __disable_irq();
  while (1)
  {
  }
}
